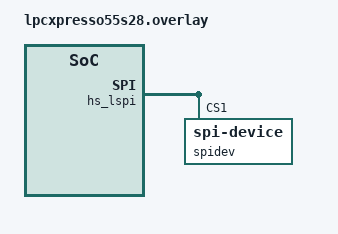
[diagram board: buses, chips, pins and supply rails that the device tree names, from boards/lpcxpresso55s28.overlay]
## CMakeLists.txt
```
# SPDX-License-Identifier: Apache-2.0

cmake_minimum_required(VERSION 3.20.0)

find_package(Zephyr REQUIRED HINTS $ENV{ZEPHYR_BASE})
project(spi_dma)

target_sources(app PRIVATE src/main.c)
```

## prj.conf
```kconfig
#CONFIG_LOG=y
#CONFIG_DEBUG=y
CONFIG_SPI=y
CONFIG_SPI_MCUX_LPSPI_DMA=y
CONFIG_SPI_MCUX_FLEXCOMM_DMA=y
```

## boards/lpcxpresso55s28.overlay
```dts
arduino_spi: &hs_lspi {
        status = "okay";
        spidev: spi-device@1 {
                reg = <0x1>;
        };
};

 
```

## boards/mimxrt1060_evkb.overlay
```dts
arduino_spi: &lpspi1 {
        status = "okay";
        /* DMA channels 0 and 1, muxed to LPSPI1 RX and TX */
        dmas = <&edma0 0 13>, <&edma0 1 14>;
        dma-names = "rx", "tx";
        pinctrl-0 = <&pinmux_lpspi1>;
        pinctrl-names = "default";

        spidev: spi-device@1 {
                reg = <0>;
        };
};
```

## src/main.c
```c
/*
 * Copyright (c) 2012-2014 Wind River Systems, Inc.
 *
 * SPDX-License-Identifier: Apache-2.0
 */

#include <stdio.h>
#include <zephyr/drivers/spi.h>

#define SPI_MESSAGE 0xA5

#define LOG_LEVEL CONFIG_LOG_DEFAULT_LEVEL
#include <zephyr/logging/log.h>
LOG_MODULE_REGISTER(app);

const struct spi_config spi_cfg = {
 	.frequency = 1000000,
 	.operation = SPI_OP_MODE_MASTER | SPI_TRANSFER_MSB | SPI_WORD_SET(8) | SPI_MODE_CPHA,
 	.cs = 0,
};

uint8_t buf[1000] = {0};

int main(void)
{
	memset(buf, SPI_MESSAGE, 1000);
	struct spi_buf tx_buf = {.buf = buf, .len = 1000};
	struct spi_buf_set tx_bufs = {.buffers = &tx_buf, .count = 1};
	const struct device *spi;

        spi = device_get_binding(DEVICE_DT_NAME(DT_NODELABEL(arduino_spi)));
	if (!device_is_ready(spi)) {
		return 0;
 	}

 	while (1) {
		spi_write(spi, &spi_cfg, &tx_bufs);
		k_sleep(K_MSEC(100));
	}

	return 0;
}
```
